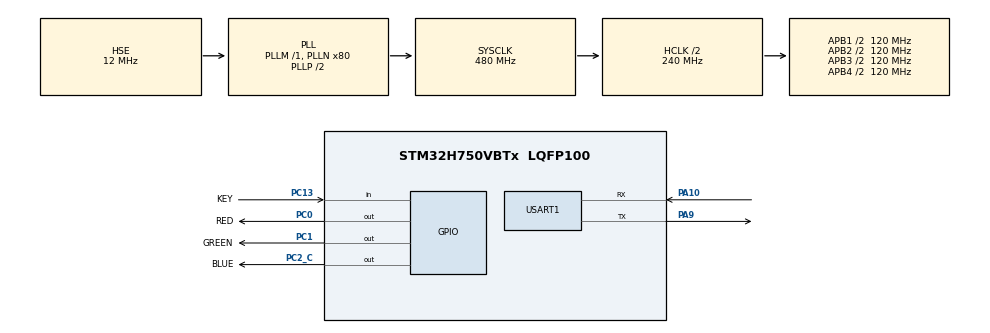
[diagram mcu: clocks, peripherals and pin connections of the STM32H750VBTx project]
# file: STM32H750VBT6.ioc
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CORTEX_M7.CPU_DCache=Enabled
CORTEX_M7.CPU_ICache=Enabled
CORTEX_M7.MPU_Control=__NULL
Mcu.Family=STM32H7
Mcu.Name=STM32H750VBTx
Mcu.Package=LQFP100
NVIC.PriorityGroup=NVIC_PRIORITYGROUP_2
NVIC.USART1_IRQn=true\:0\:0\:false\:false\:true\:true\:true
PA10.Mode=Asynchronous
PA10.Signal=USART1_RX
PA13\ (JTMS/SWDIO).Mode=Serial_Wire
PA13\ (JTMS/SWDIO).Signal=DEBUG_JTMS-SWDIO
PA14\ (JTCK/SWCLK).Mode=Serial_Wire
PA14\ (JTCK/SWCLK).Signal=DEBUG_JTCK-SWCLK
PA9.Mode=Asynchronous
PA9.Signal=USART1_TX
PC0.GPIO_Label=RED
PC0.GPIO_PuPd=GPIO_PULLUP
PC0.PinState=GPIO_PIN_SET
PC0.Signal=GPIO_Output
PC1.GPIO_Label=GREEN
PC1.GPIO_PuPd=GPIO_PULLUP
PC1.GPIO_Speed=GPIO_SPEED_FREQ_LOW
PC1.PinState=GPIO_PIN_SET
PC1.Signal=GPIO_Output
PC13.GPIO_Label=KEY
PC13.GPIO_PuPd=GPIO_PULLUP
PC13.Signal=GPIO_Input
PC14-OSC32_IN\ (OSC32_IN).Mode=LSE-External-Oscillator
PC14-OSC32_IN\ (OSC32_IN).Signal=RCC_OSC32_IN
PC15-OSC32_OUT\ (OSC32_OUT).Mode=LSE-External-Oscillator
PC15-OSC32_OUT\ (OSC32_OUT).Signal=RCC_OSC32_OUT
PC2_C.GPIO_Label=BLUE
PC2_C.GPIO_PuPd=GPIO_PULLUP
PC2_C.PinState=GPIO_PIN_SET
PC2_C.Signal=GPIO_Output
PH0-OSC_IN\ (PH0).Mode=HSE-External-Oscillator
PH0-OSC_IN\ (PH0).Signal=RCC_OSC_IN
PH1-OSC_OUT\ (PH1).Mode=HSE-External-Oscillator
PH1-OSC_OUT\ (PH1).Signal=RCC_OSC_OUT
ProjectManager.HeapSize=0x800
ProjectManager.StackSize=0x800
ProjectManager.TargetToolchain=MDK-ARM V5
RCC.ADCFreq_Value=480000000
RCC.APB1Freq_Value=120000000
RCC.APB2Freq_Value=120000000
RCC.APB3Freq_Value=120000000
RCC.APB4Freq_Value=120000000
RCC.CortexFreq_Value=480000000
RCC.D1PPRE=RCC_APB3_DIV2
RCC.D2PPRE1=RCC_APB1_DIV2
RCC.D2PPRE2=RCC_APB2_DIV2
RCC.D3PPRE=RCC_APB4_DIV2
RCC.DIVM1=1
RCC.DIVM2=1
RCC.DIVM3=1
RCC.DIVN1=80
RCC.DIVN2=80
RCC.DIVN3=80
RCC.FLatency=FLASH_LATENCY_4
RCC.HCLKFreq_Value=240000000
RCC.HPRE=RCC_HCLK_DIV2
RCC.HSE_VALUE=12000000
RCC.PLLFRACN=0
RCC.PLLSourceVirtual=RCC_PLLSOURCE_HSE
RCC.PWR_Regulator_Voltage_Scale=PWR_REGULATOR_VOLTAGE_SCALE0
RCC.ProductRev=revV
RCC.RTCClockSelection=RCC_RTCCLKSOURCE_LSE
RCC.SYSCLKFreq_VALUE=480000000
RCC.SYSCLKSource=RCC_SYSCLKSOURCE_PLLCLK
RCC.USBFreq_Value=480000000
RTC.Format=RTC_FORMAT_BIN
USART1.VirtualMode-Asynchronous=VM_ASYNC
VP_RTC_VS_RTC_Activate.Mode=RTC_Enabled
VP_RTC_VS_RTC_Calendar.Mode=RTC_Calendar
board=custom

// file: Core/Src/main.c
/* USER CODE BEGIN Header */
/**
  ******************************************************************************
  * @file           : main.c
  * @brief          : Main program body
  ******************************************************************************
  * @attention
  *
  * <h2><center>&copy; Copyright (c) 2021 STMicroelectronics.
  * All rights reserved.</center></h2>
  *
  * This software component is licensed by ST under BSD 3-Clause license,
  * the "License"; You may not use this file except in compliance with the
  * License. You may obtain a copy of the License at:
  *                        opensource.org/licenses/BSD-3-Clause
  *
  ******************************************************************************
  */
/* USER CODE END Header */
#include "main.h"
#include "rtc.h"
#include "usart.h"
#include "gpio.h"

/* USER CODE BEGIN Includes */
#include "BSP_GPIO.h"
#include "BSP_USART.h"
/* USER CODE END Includes */

void SystemClock_Config(void);

int main(void)
{
  /* USER CODE BEGIN 1 */
	RTC_TimeTypeDef RTC_TimeStruct;
  RTC_DateTypeDef RTC_DateStruct;
	u8 t=0;
  /* USER CODE END 1 */

  /* Enable I-Cache---------------------------------------------------------*/
  SCB_EnableICache();

  /* Enable D-Cache---------------------------------------------------------*/
  SCB_EnableDCache();

  /* MCU Configuration--------------------------------------------------------*/

  /* Reset of all peripherals, Initializes the Flash interface and the Systick. */
  HAL_Init();

  /* Configure the system clock */
  SystemClock_Config();

  /* Initialize all configured peripherals */
  MX_GPIO_Init();
  MX_USART1_UART_Init();
  MX_RTC_Init();
  /* USER CODE BEGIN 2 */

	HAL_UART_Receive_IT(&huart1, &rx1_buf, 1);

  /* USER CODE END 2 */

  /* Infinite loop */
  /* USER CODE BEGIN WHILE */
  while (1)
  {
		t++;
		if((t%10)==0)	//每100ms更新一次显示数据
		{
      HAL_RTC_GetTime(&hrtc,&RTC_TimeStruct,RTC_FORMAT_BIN);
			printf("Time:%02d:%02d:%02d\r\n",RTC_TimeStruct.Hours,RTC_TimeStruct.Minutes,RTC_TimeStruct.Seconds);

			HAL_RTC_GetDate(&hrtc,&RTC_DateStruct,RTC_FORMAT_BIN);
			printf("Date:20%02d-%02d-%02d\r\n",RTC_DateStruct.Year,RTC_DateStruct.Month,RTC_DateStruct.Date);

			printf("Week:%d\r\n\r\n",RTC_DateStruct.WeekDay);

		}
		if((t%20)==0)LED_R_TogglePin;	//每200ms,翻转一次LED0
			HAL_Delay(10);
    /* USER CODE END WHILE */

  }
}

void SystemClock_Config(void)
{
  RCC_OscInitTypeDef RCC_OscInitStruct = {0};
  RCC_ClkInitTypeDef RCC_ClkInitStruct = {0};

  /** Supply configuration update enable
  */
  HAL_PWREx_ConfigSupply(PWR_LDO_SUPPLY);
  /** Configure the main internal regulator output voltage
  */
  __HAL_PWR_VOLTAGESCALING_CONFIG(PWR_REGULATOR_VOLTAGE_SCALE0);

  while(!__HAL_PWR_GET_FLAG(PWR_FLAG_VOSRDY)) {}
  /** Configure LSE Drive Capability
  */
  HAL_PWR_EnableBkUpAccess();
  __HAL_RCC_LSEDRIVE_CONFIG(RCC_LSEDRIVE_LOW);
  /** Initializes the RCC Oscillators according to the specified parameters
  * in the RCC_OscInitTypeDef structure.
  */
  RCC_OscInitStruct.OscillatorType = RCC_OSCILLATORTYPE_HSE|RCC_OSCILLATORTYPE_LSE;
  RCC_OscInitStruct.HSEState = RCC_HSE_ON;
  RCC_OscInitStruct.LSEState = RCC_LSE_ON;
  RCC_OscInitStruct.PLL.PLLState = RCC_PLL_ON;
  RCC_OscInitStruct.PLL.PLLSource = RCC_PLLSOURCE_HSE;
  RCC_OscInitStruct.PLL.PLLM = 1;
  RCC_OscInitStruct.PLL.PLLN = 80;
  RCC_OscInitStruct.PLL.PLLP = 2;
  RCC_OscInitStruct.PLL.PLLQ = 2;
  RCC_OscInitStruct.PLL.PLLR = 2;
  RCC_OscInitStruct.PLL.PLLRGE = RCC_PLL1VCIRANGE_3;
  RCC_OscInitStruct.PLL.PLLVCOSEL = RCC_PLL1VCOWIDE;
  RCC_OscInitStruct.PLL.PLLFRACN = 0;
  if (HAL_RCC_OscConfig(&RCC_OscInitStruct) != HAL_OK)
  {
    Error_Handler();
  }
  /** Initializes the CPU, AHB and APB buses clocks
  */
  RCC_ClkInitStruct.ClockType = RCC_CLOCKTYPE_HCLK|RCC_CLOCKTYPE_SYSCLK
                              |RCC_CLOCKTYPE_PCLK1|RCC_CLOCKTYPE_PCLK2
                              |RCC_CLOCKTYPE_D3PCLK1|RCC_CLOCKTYPE_D1PCLK1;
  RCC_ClkInitStruct.SYSCLKSource = RCC_SYSCLKSOURCE_PLLCLK;
  RCC_ClkInitStruct.SYSCLKDivider = RCC_SYSCLK_DIV1;
  RCC_ClkInitStruct.AHBCLKDivider = RCC_HCLK_DIV2;
  RCC_ClkInitStruct.APB3CLKDivider = RCC_APB3_DIV2;
  RCC_ClkInitStruct.APB1CLKDivider = RCC_APB1_DIV2;
  RCC_ClkInitStruct.APB2CLKDivider = RCC_APB2_DIV2;
  RCC_ClkInitStruct.APB4CLKDivider = RCC_APB4_DIV2;

  if (HAL_RCC_ClockConfig(&RCC_ClkInitStruct, FLASH_LATENCY_4) != HAL_OK)
  {
    Error_Handler();
  }
}

void Error_Handler(void)
{
  __disable_irq();
  while (1)
  {
  }
}

/************************ (C) COPYRIGHT STMicroelectronics *****END OF FILE****/
